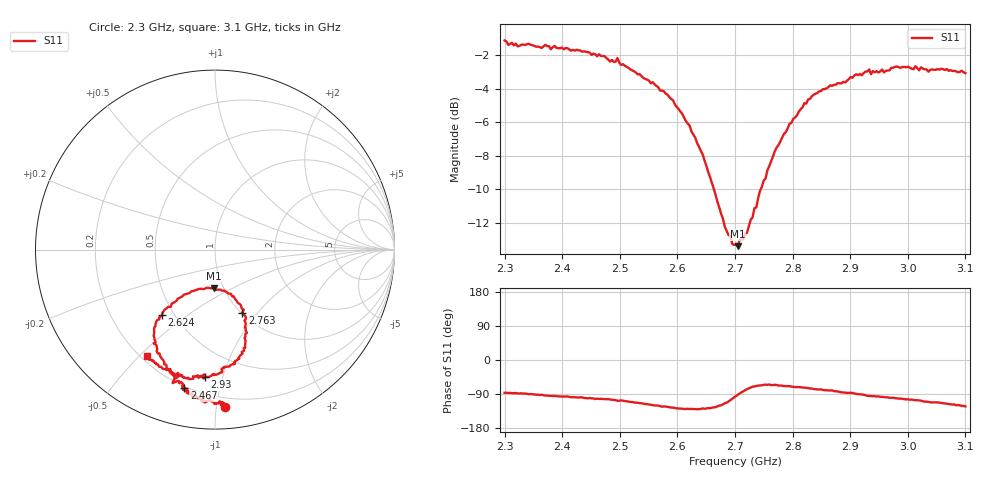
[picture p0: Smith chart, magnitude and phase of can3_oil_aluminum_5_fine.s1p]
# MHz S MA R 50
!  freq  S11
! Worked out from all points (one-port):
!   250 points, 2.3 GHz to 3.1 GHz, reference 50 ohm
!   lowest |S11| = -13.4 dB at 2.705 GHz (marker M1), VSWR 1.54, Z = 45.1 - j20.2 ohm
!   |S11| at or under -10 dB: 2.664 GHz to 2.745 GHz (81.04 MHz wide, 3 % of centre)
!   S11 on the Smith chart (normalised r, x): 2.3 GHz: 0.13, -1.05; 2.467 GHz: 0.19, -0.78; 2.624 GHz: 0.43, -0.40; 2.763 GHz: 1.01, -0.84; 2.93 GHz: 0.30, -0.88; 3.1 GHz: 0.22, -0.53
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2300  0.8803 -86.5
2306.426  0.8534 -87.0
2328.916  0.8547 -87.8
2370.683  0.8542 -93.9
2402.811  0.8286 -96.3
2457.43  0.8004 -102.9
2467.068  0.7919 -102.5
2479.92  0.7721 -103.1
2495.984  0.7803 -107.6
2502.41  0.7441 -106.5
2573.092  0.6236 -123.2
2602.008  0.5498 -127.9
2624.498  0.4706 -128.9
2666.265  0.3048 -124.6
2682.329  0.2443 -114.0
2701.606  0.2172 -95.5
2704.819  0.2141 -91.7
2736.948  0.2793 -68.4
2762.651  0.3833 -66.5
2801.205  0.5137 -70.8
2836.546  0.6058 -76.6
2868.675  0.6447 -80.0
2884.739  0.6552 -85.3
2900.803  0.6852 -86.7
2929.719  0.7113 -94.6
3000.402  0.7346 -103.5
3058.233  0.725 -113.4
3100  0.7032 -122.5
